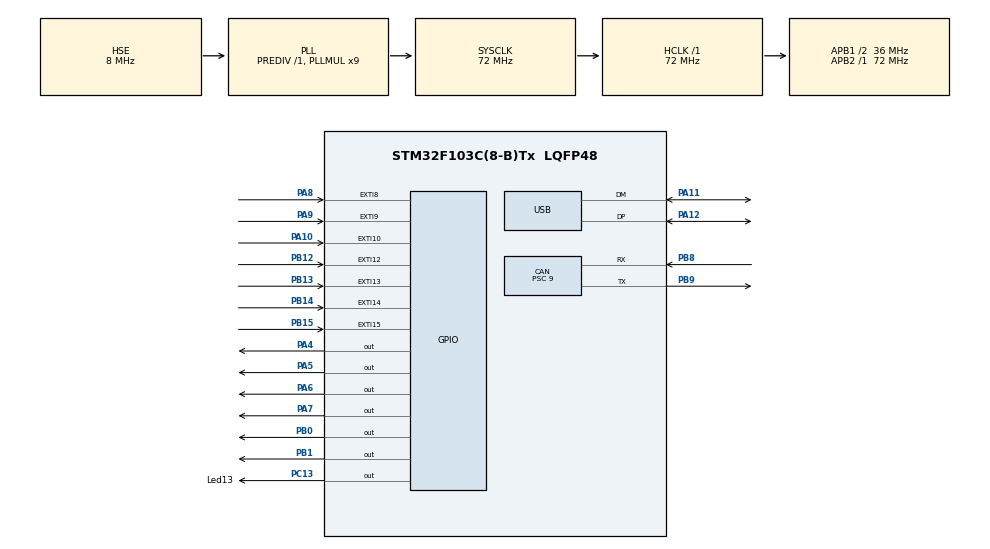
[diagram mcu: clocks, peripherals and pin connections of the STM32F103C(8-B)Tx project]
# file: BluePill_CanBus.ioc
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CAN.BS1=CAN_BS1_3TQ
CAN.BS2=CAN_BS2_4TQ
CAN.CalculateBaudRate=500000
CAN.CalculateTimeBit=2000.00
CAN.CalculateTimeQuantum=250.0
CAN.Prescaler=9
Mcu.Family=STM32F1
Mcu.Name=STM32F103C(8-B)Tx
Mcu.Package=LQFP48
NVIC.PriorityGroup=NVIC_PRIORITYGROUP_4
NVIC.USB_LP_CAN1_RX0_IRQn=true\:0\:0\:false\:false\:true\:false\:true
PA10.Signal=GPXTI10
PA11.Mode=Device
PA11.Signal=USB_DM
PA12.Mode=Device
PA12.Signal=USB_DP
PA13.Mode=Serial_Wire
PA13.Signal=SYS_JTMS-SWDIO
PA14.Mode=Serial_Wire
PA14.Signal=SYS_JTCK-SWCLK
PA4.Signal=GPIO_Output
PA5.Signal=GPIO_Output
PA6.Signal=GPIO_Output
PA7.Signal=GPIO_Output
PA8.Signal=GPXTI8
PA9.Signal=GPXTI9
PB0.Signal=GPIO_Output
PB1.Signal=GPIO_Output
PB12.Signal=GPXTI12
PB13.Signal=GPXTI13
PB14.Signal=GPXTI14
PB15.Signal=GPXTI15
PB8.Mode=CAN_Activate
PB8.Signal=CAN_RX
PB9.Mode=CAN_Activate
PB9.Signal=CAN_TX
PC13-TAMPER-RTC.GPIO_Label=Led13
PC13-TAMPER-RTC.Signal=GPIO_Output
PD0-OSC_IN.Mode=HSE-External-Oscillator
PD0-OSC_IN.Signal=RCC_OSC_IN
PD1-OSC_OUT.Mode=HSE-External-Oscillator
PD1-OSC_OUT.Signal=RCC_OSC_OUT
ProjectManager.HeapSize=0x200
ProjectManager.StackSize=0x400
ProjectManager.TargetToolchain=STM32CubeIDE
RCC.AHBFreq_Value=72000000
RCC.APB1CLKDivider=RCC_HCLK_DIV2
RCC.APB1Freq_Value=36000000
RCC.APB1TimFreq_Value=72000000
RCC.APB2Freq_Value=72000000
RCC.APB2TimFreq_Value=72000000
RCC.HCLKFreq_Value=72000000
RCC.PLLMUL=RCC_PLL_MUL9
RCC.SYSCLKFreq_VALUE=72000000
RCC.SYSCLKSource=RCC_SYSCLKSOURCE_PLLCLK
RCC.USBFreq_Value=48000000
RCC.USBPrescaler=RCC_USBCLKSOURCE_PLL_DIV1_5
USB_DEVICE.CLASS_NAME_FS=CDC
USB_DEVICE.VirtualMode=Cdc
USB_DEVICE.VirtualModeFS=Cdc_FS
VP_USB_DEVICE_VS_USB_DEVICE_CDC_FS.Mode=CDC_FS
board=custom

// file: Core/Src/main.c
/* USER CODE BEGIN Header */
/**
  ******************************************************************************
  * @file           : main.c
  * @brief          : Main program body
  ******************************************************************************
  * @attention
  *
  * <h2><center>&copy; Copyright (c) 2021 STMicroelectronics.
  * All rights reserved.</center></h2>
  *
  * This software component is licensed by ST under BSD 3-Clause license,
  * the "License"; You may not use this file except in compliance with the
  * License. You may obtain a copy of the License at:
  *                        opensource.org/licenses/BSD-3-Clause
  *
  ******************************************************************************
  */
/* USER CODE END Header */
#include "main.h"
#include "usb_device.h"

CAN_HandleTypeDef hcan;

/* USER CODE BEGIN PV */
CAN_RxHeaderTypeDef rxHeader; //CAN Bus Transmit Header
CAN_TxHeaderTypeDef txHeader; //CAN Bus Receive Header
uint8_t canRX[8] = {0,0,0,0,0,0,0,0};  //CAN Bus Receive Buffer
CAN_FilterTypeDef canfil; //CAN Bus Filter
uint32_t canMailbox; //CAN Bus Mail box variable
uint8_t csend[8] = {0,0,0,0,0,0,0,0};
//Genel Değişkenler
uint8_t stateofinput[7]; //Buton başlangıç durumları
uint8_t status_signal=0;

/* USER CODE END PV */

void SystemClock_Config(void);
static void MX_GPIO_Init(void);
static void MX_CAN_Init(void);
/* USER CODE BEGIN PFP */
void intial_input_state(void);
void intial_output_state(void);
void serial_port_yaz(void);
void harici_kesme_5_9(void);
void harici_kesme_10_15(void);
void can_hattina_veri_bas(void);

/* USER CODE END PFP */

int main(void)
{

  /* MCU Configuration--------------------------------------------------------*/

  /* Reset of all peripherals, Initializes the Flash interface and the Systick. */
  HAL_Init();

  /* Configure the system clock */
  SystemClock_Config();

  /* Initialize all configured peripherals */
  MX_GPIO_Init();
  MX_CAN_Init();
  MX_USB_DEVICE_Init();
  /* USER CODE BEGIN 2 */

  canfil.FilterBank = 0;
  canfil.FilterMode = CAN_FILTERMODE_IDMASK;
  canfil.FilterFIFOAssignment = CAN_RX_FIFO0;
  canfil.FilterIdHigh = 0;
  canfil.FilterIdLow = 0;
  canfil.FilterMaskIdHigh = 0;
  canfil.FilterMaskIdLow = 0;
  canfil.FilterScale = CAN_FILTERSCALE_32BIT;
  canfil.FilterActivation = ENABLE;
  canfil.SlaveStartFilterBank = 14;

  txHeader.DLC = 8;
  txHeader.IDE = CAN_ID_STD;
  txHeader.RTR = CAN_RTR_DATA;
  txHeader.StdId = 0x030;
  txHeader.ExtId = 0x02;
  txHeader.TransmitGlobalTime = DISABLE;

  HAL_CAN_ConfigFilter(&hcan,&canfil);
  HAL_CAN_Start(&hcan);
  HAL_CAN_ActivateNotification(&hcan,CAN_IT_RX_FIFO0_MSG_PENDING);

  /* USER CODE END 2 */

  /* Infinite loop */
  /* USER CODE BEGIN WHILE */
  while (1)
  {

	  intial_input_state();
	  HAL_Delay(10);
	  can_hattina_veri_bas();
	  HAL_GPIO_TogglePin(Led13_GPIO_Port, Led13_Pin);
	  HAL_Delay(1000);

    /* USER CODE END WHILE */

  }
}

void SystemClock_Config(void)
{
  RCC_OscInitTypeDef RCC_OscInitStruct = {0};
  RCC_ClkInitTypeDef RCC_ClkInitStruct = {0};
  RCC_PeriphCLKInitTypeDef PeriphClkInit = {0};

  /** Initializes the RCC Oscillators according to the specified parameters
  * in the RCC_OscInitTypeDef structure.
  */
  RCC_OscInitStruct.OscillatorType = RCC_OSCILLATORTYPE_HSE;
  RCC_OscInitStruct.HSEState = RCC_HSE_ON;
  RCC_OscInitStruct.HSEPredivValue = RCC_HSE_PREDIV_DIV1;
  RCC_OscInitStruct.HSIState = RCC_HSI_ON;
  RCC_OscInitStruct.PLL.PLLState = RCC_PLL_ON;
  RCC_OscInitStruct.PLL.PLLSource = RCC_PLLSOURCE_HSE;
  RCC_OscInitStruct.PLL.PLLMUL = RCC_PLL_MUL9;
  if (HAL_RCC_OscConfig(&RCC_OscInitStruct) != HAL_OK)
  {
    Error_Handler();
  }
  /** Initializes the CPU, AHB and APB buses clocks
  */
  RCC_ClkInitStruct.ClockType = RCC_CLOCKTYPE_HCLK|RCC_CLOCKTYPE_SYSCLK
                              |RCC_CLOCKTYPE_PCLK1|RCC_CLOCKTYPE_PCLK2;
  RCC_ClkInitStruct.SYSCLKSource = RCC_SYSCLKSOURCE_PLLCLK;
  RCC_ClkInitStruct.AHBCLKDivider = RCC_SYSCLK_DIV1;
  RCC_ClkInitStruct.APB1CLKDivider = RCC_HCLK_DIV2;
  RCC_ClkInitStruct.APB2CLKDivider = RCC_HCLK_DIV1;

  if (HAL_RCC_ClockConfig(&RCC_ClkInitStruct, FLASH_LATENCY_2) != HAL_OK)
  {
    Error_Handler();
  }
  PeriphClkInit.PeriphClockSelection = RCC_PERIPHCLK_USB;
  PeriphClkInit.UsbClockSelection = RCC_USBCLKSOURCE_PLL_DIV1_5;
  if (HAL_RCCEx_PeriphCLKConfig(&PeriphClkInit) != HAL_OK)
  {
    Error_Handler();
  }
}

static void MX_CAN_Init(void)
{

  hcan.Instance = CAN1;
  hcan.Init.Prescaler = 9;
  hcan.Init.Mode = CAN_MODE_NORMAL;
  hcan.Init.SyncJumpWidth = CAN_SJW_1TQ;
  hcan.Init.TimeSeg1 = CAN_BS1_3TQ;
  hcan.Init.TimeSeg2 = CAN_BS2_4TQ;
  hcan.Init.TimeTriggeredMode = DISABLE;
  hcan.Init.AutoBusOff = DISABLE;
  hcan.Init.AutoWakeUp = DISABLE;
  hcan.Init.AutoRetransmission = DISABLE;
  hcan.Init.ReceiveFifoLocked = DISABLE;
  hcan.Init.TransmitFifoPriority = DISABLE;
  if (HAL_CAN_Init(&hcan) != HAL_OK)
  {
    Error_Handler();
  }

}

static void MX_GPIO_Init(void)
{
  GPIO_InitTypeDef GPIO_InitStruct = {0};

  /* GPIO Ports Clock Enable */
  __HAL_RCC_GPIOC_CLK_ENABLE();
  __HAL_RCC_GPIOD_CLK_ENABLE();
  __HAL_RCC_GPIOA_CLK_ENABLE();
  __HAL_RCC_GPIOB_CLK_ENABLE();

  /*Configure GPIO pin Output Level */
  HAL_GPIO_WritePin(Led13_GPIO_Port, Led13_Pin, GPIO_PIN_RESET);

  /*Configure GPIO pin Output Level */
  HAL_GPIO_WritePin(GPIOA, GPIO_PIN_4|GPIO_PIN_5|GPIO_PIN_6|GPIO_PIN_7, GPIO_PIN_RESET);

  /*Configure GPIO pin Output Level */
  HAL_GPIO_WritePin(GPIOB, GPIO_PIN_0|GPIO_PIN_1, GPIO_PIN_RESET);

  /*Configure GPIO pin : Led13_Pin */
  GPIO_InitStruct.Pin = Led13_Pin;
  GPIO_InitStruct.Mode = GPIO_MODE_OUTPUT_PP;
  GPIO_InitStruct.Pull = GPIO_NOPULL;
  GPIO_InitStruct.Speed = GPIO_SPEED_FREQ_LOW;
  HAL_GPIO_Init(Led13_GPIO_Port, &GPIO_InitStruct);

  /*Configure GPIO pins : PA4 PA5 PA6 PA7 */
  GPIO_InitStruct.Pin = GPIO_PIN_4|GPIO_PIN_5|GPIO_PIN_6|GPIO_PIN_7;
  GPIO_InitStruct.Mode = GPIO_MODE_OUTPUT_PP;
  GPIO_InitStruct.Pull = GPIO_NOPULL;
  GPIO_InitStruct.Speed = GPIO_SPEED_FREQ_LOW;
  HAL_GPIO_Init(GPIOA, &GPIO_InitStruct);

  /*Configure GPIO pins : PB0 PB1 */
  GPIO_InitStruct.Pin = GPIO_PIN_0|GPIO_PIN_1;
  GPIO_InitStruct.Mode = GPIO_MODE_OUTPUT_PP;
  GPIO_InitStruct.Pull = GPIO_NOPULL;
  GPIO_InitStruct.Speed = GPIO_SPEED_FREQ_LOW;
  HAL_GPIO_Init(GPIOB, &GPIO_InitStruct);

  /*Configure GPIO pins : PB12 PB13 PB14 PB15 */
  GPIO_InitStruct.Pin = GPIO_PIN_12|GPIO_PIN_13|GPIO_PIN_14|GPIO_PIN_15;
  GPIO_InitStruct.Mode = GPIO_MODE_IT_RISING;
  GPIO_InitStruct.Pull = GPIO_NOPULL;
  HAL_GPIO_Init(GPIOB, &GPIO_InitStruct);

  /*Configure GPIO pins : PA8 PA9 PA10 */
  GPIO_InitStruct.Pin = GPIO_PIN_8|GPIO_PIN_9|GPIO_PIN_10;
  GPIO_InitStruct.Mode = GPIO_MODE_IT_RISING;
  GPIO_InitStruct.Pull = GPIO_NOPULL;
  HAL_GPIO_Init(GPIOA, &GPIO_InitStruct);

}

/* USER CODE BEGIN 4 */

void can_hattina_veri_bas(void){
	/*----CaBus Veri Bilgisi-----

	 Sağ Sinyal = 0x01
	 Sol Sinyal = 0x02
	 Far = 0x04
	 Angel Far = 0x08
	 Tavan Aydınlatma = 0x10
	 Dörtlüler = 0x20

	*/
	//Can hattına veri gönderilir...
	uint8_t m=0;
	for (m = 0; m < 7; m++) {
		if (!stateofinput[m]) {
			csend[0] = csend[0] | (0x01 << m);
		} else {
			csend[0] = ~((~csend[0]) | (0x01 << m));
		}
	}
	HAL_CAN_AddTxMessage(&hcan, &txHeader, stateofinput, &canMailbox);
}

//Butonların ilk çalışma esnasındaki değerleri okunur..
void intial_input_state(void){

	//Dörtlüler
	stateofinput[6]=HAL_GPIO_ReadPin(GPIOB, GPIO_PIN_12);
	//Angel Far
	stateofinput[4]=HAL_GPIO_ReadPin(GPIOB, GPIO_PIN_13);
	//Tavan Aydınlatma
	stateofinput[5]=HAL_GPIO_ReadPin(GPIOB, GPIO_PIN_14);
	//Flasher Mod
	stateofinput[3]=HAL_GPIO_ReadPin(GPIOB, GPIO_PIN_15);
	//Far
	stateofinput[2]=HAL_GPIO_ReadPin(GPIOA, GPIO_PIN_8);
	//Sağ  Sinyal
	stateofinput[0]=HAL_GPIO_ReadPin(GPIOA, GPIO_PIN_9);
	//Sol Sinyal
	stateofinput[1]=HAL_GPIO_ReadPin(GPIOA, GPIO_PIN_10);
}

//Araç eyleyicilerinin başlangıç durumları ayarlanıyor...
void intial_output_state(void){
	HAL_GPIO_WritePin(GPIOB, GPIO_PIN_0, !stateofinput[4]);
	HAL_GPIO_WritePin(GPIOB, GPIO_PIN_1, !stateofinput[5]);
	HAL_GPIO_WritePin(GPIOA, GPIO_PIN_4, !stateofinput[1]);
	HAL_GPIO_WritePin(GPIOA, GPIO_PIN_5, !stateofinput[0]);
	HAL_GPIO_WritePin(GPIOA, GPIO_PIN_6, !stateofinput[3]);
	HAL_GPIO_WritePin(GPIOA, GPIO_PIN_7, !stateofinput[2]);
}

//void HAL_CAN_RxFifo0MsgPendingCallback(CAN_HandleTypeDef *hcan)
//{
//	HAL_CAN_GetRxMessage(hcan, CAN_RX_FIFO0, &rxHeader, canRX);
//	HAL_GPIO_TogglePin(Led13_GPIO_Port, Led13_Pin);
//
//}

/* USER CODE END 4 */

void Error_Handler(void)
{
  __disable_irq();
  while (1)
  {
  }
}

/************************ (C) COPYRIGHT STMicroelectronics *****END OF FILE****/
